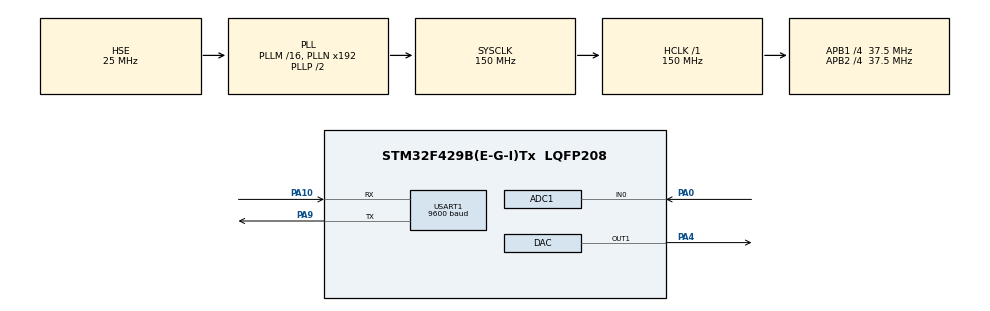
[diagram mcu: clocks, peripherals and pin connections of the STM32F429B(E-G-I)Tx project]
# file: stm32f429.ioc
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ADC1.Channel-1\#ChannelRegularConversion=ADC_CHANNEL_0
ADC1.NbrOfConversionFlag=1
ADC1.Rank-1\#ChannelRegularConversion=1
ADC1.SamplingTime-1\#ChannelRegularConversion=ADC_SAMPLETIME_3CYCLES
ADC1.master=1
Mcu.Family=STM32F4
Mcu.Name=STM32F429B(E-G-I)Tx
Mcu.Package=LQFP208
NVIC.PriorityGroup=NVIC_PRIORITYGROUP_4
PA0/WKUP.Signal=ADCx_IN0
PA10.Mode=Asynchronous
PA10.Signal=USART1_RX
PA4.Signal=COMP_DAC1_group
PA9.Mode=Asynchronous
PA9.Signal=USART1_TX
PH0/OSC_IN.Mode=HSE-External-Oscillator
PH0/OSC_IN.Signal=RCC_OSC_IN
PH1/OSC_OUT.Mode=HSE-External-Oscillator
PH1/OSC_OUT.Signal=RCC_OSC_OUT
ProjectManager.HeapSize=0x200
ProjectManager.StackSize=0x400
ProjectManager.TargetToolchain=MDK-ARM V5.27
RCC.48MHZClocksFreq_Value=75000000
RCC.AHBFreq_Value=150000000
RCC.APB1CLKDivider=RCC_HCLK_DIV4
RCC.APB1Freq_Value=37500000
RCC.APB1TimFreq_Value=75000000
RCC.APB2CLKDivider=RCC_HCLK_DIV4
RCC.APB2Freq_Value=37500000
RCC.APB2TimFreq_Value=75000000
RCC.CortexFreq_Value=150000000
RCC.HCLKFreq_Value=150000000
RCC.HSE_VALUE=25000000
RCC.HSI_VALUE=16000000
RCC.LSE_VALUE=32768
RCC.PLLSourceVirtual=RCC_PLLSOURCE_HSE
RCC.SYSCLKFreq_VALUE=150000000
RCC.SYSCLKSource=RCC_SYSCLKSOURCE_PLLCLK
RCC.VCOOutputFreq_Value=300000000
SH.ADCx_IN0.0=ADC1_IN0,IN0
SH.COMP_DAC1_group.0=DAC_OUT1,DAC_OUT1
USART1.BaudRate=9600
USART1.VirtualMode=VM_ASYNC
board=custom

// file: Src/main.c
/* USER CODE BEGIN Header */
/**
  ******************************************************************************
  * @file           : main.c
  * @brief          : Main program body
  ******************************************************************************
  * @attention
  *
  * <h2><center>&copy; Copyright (c) 2020 STMicroelectronics.
  * All rights reserved.</center></h2>
  *
  * This software component is licensed by ST under BSD 3-Clause license,
  * the "License"; You may not use this file except in compliance with the
  * License. You may obtain a copy of the License at:
  *                        opensource.org/licenses/BSD-3-Clause
  *
  ******************************************************************************
  */
/* USER CODE END Header */

#include "main.h"
#include "adc.h"
#include "dac.h"
#include "usart.h"
#include "gpio.h"

/* USER CODE BEGIN Includes */
#include "stdio.h"
#include "arm_math.h"
#define FFT_LENGTH 1024 		//FFT长度，默认是1024点FFT

float fft_inputbuf[FFT_LENGTH*2];	//FFT输入数组
float fft_outputbuf[FFT_LENGTH];	//FFT输出数组
uint16_t ADC_Value = 0 , ADC_Volt = 0 ;
/* USER CODE END Includes */

void SystemClock_Config(void);
/* USER CODE BEGIN PFP */
void MF_DAC_CH1_SetV(double v){
	uint32_t t;
	if(v<0){
		HAL_DAC_SetValue(&hdac,DAC_CHANNEL_1,DAC_ALIGN_12B_R,0);
		return ;
	}
	if(v>3.254){
		HAL_DAC_SetValue(&hdac,DAC_CHANNEL_1,DAC_ALIGN_12B_R,4040);
		return ;
	}
	t = (uint32_t)(v/3.254*4040+5);
			HAL_DAC_SetValue(&hdac,DAC_CHANNEL_1,DAC_ALIGN_12B_R,t);
}
void MF_ADC1_GetAndShowValue(){
	HAL_ADC_Start(&hadc1);
		if( HAL_ADC_PollForConversion(&hadc1, 100) == HAL_OK ){
       ADC_Value = HAL_ADC_GetValue(&hadc1);//*f+ADC_Value*(1-f);
       ADC_Volt = ADC_Value * 3254 / 4096 ;    //单位ms
   }
   HAL_ADC_Stop(&hadc1);
		printf("采样值:%d,电压值:%d.%d%dV\r\n",ADC_Value, ADC_Volt/1000, (ADC_Volt%1000/100), ADC_Volt%100);
		HAL_Delay(1000);
}
/* USER CODE END PFP */

int main(void)
{
  /* USER CODE BEGIN 1 */
//		uint8_t m = 0xcc ;
//	double f = 0.618;

	int i;
	 arm_cfft_radix4_instance_f32 scfft;
	arm_cfft_radix4_init_f32(&scfft,FFT_LENGTH,0,1);//初始化scfft结构体，设定FFT相关参数
	for(i=0;i<FFT_LENGTH;i++)//生成信号序列
			{
				 fft_inputbuf[2*i]=100+
				                   10*arm_sin_f32(2*PI*i/FFT_LENGTH)+
								   30*arm_sin_f32(2*PI*i*4/FFT_LENGTH)+
				                   50*arm_cos_f32(2*PI*i*8/FFT_LENGTH);	//生成输入信号实部
				 fft_inputbuf[2*i+1]=0;//虚部全部为0
			}
			arm_cfft_radix4_f32(&scfft,fft_inputbuf);	//FFT计算（基4）
			arm_cmplx_mag_f32(fft_inputbuf,fft_outputbuf,FFT_LENGTH);	//把运算结果复数求模得幅值

  /* USER CODE END 1 */

  /* MCU Configuration--------------------------------------------------------*/

  /* Reset of all peripherals, Initializes the Flash interface and the Systick. */
  HAL_Init();

  /* Configure the system clock */
  SystemClock_Config();

  /* Initialize all configured peripherals */
  MX_GPIO_Init();
  MX_USART1_UART_Init();
  MX_ADC1_Init();
  MX_DAC_Init();
  /* USER CODE BEGIN 2 */
	//HAL_ADC_Start(&hadc1);
	HAL_DAC_Start(&hdac,DAC_CHANNEL_1);
//HAL_DAC_SetValue(&hdac,DAC_CHANNEL_1,DAC_ALIGN_12B_R,(uint32_t)(1.5*4096/3300));

  /* USER CODE END 2 */

  /* Infinite loop */
  /* USER CODE BEGIN WHILE */
  while (1)
  {
//		HAL_DAC_SetValue(&hdac,DAC_CHANNEL_1,DAC_ALIGN_12B_R,(uint32_t)(1.5*4096/3300));
//		HAL_DAC_SetValue(&hdac,DAC_CHANNEL_1,DAC_ALIGN_12B_R,4040);
//		MF_DAC_CH1_SetV(1.4);
//		HAL_ADC_Start(&hadc1);
//		if( HAL_ADC_PollForConversion(&hadc1, 100) == HAL_OK ){
//       ADC_Value = HAL_ADC_GetValue(&hadc1);//*f+ADC_Value*(1-f);
//       ADC_Volt = ADC_Value * 3254 / 4096 ;    //单位ms
//   }
//   HAL_ADC_Stop(&hadc1);
//		printf("采样值:%d,电压值:%d.%d%dV\r\n",ADC_Value, ADC_Volt/1000, (ADC_Volt%1000/100), ADC_Volt%100);
		//HAL_UART_Transmit(&huart1,&m,1,1000);

		for(i=0;i<FFT_LENGTH;i++)
			{
				printf("fft_outputbuf[%d]:%f\r\n",i,fft_outputbuf[i]);
			}
		HAL_Delay(1000);
    /* USER CODE END WHILE */

  }
}

void SystemClock_Config(void)
{
  RCC_OscInitTypeDef RCC_OscInitStruct = {0};
  RCC_ClkInitTypeDef RCC_ClkInitStruct = {0};

  /** Configure the main internal regulator output voltage
  */
  __HAL_RCC_PWR_CLK_ENABLE();
  __HAL_PWR_VOLTAGESCALING_CONFIG(PWR_REGULATOR_VOLTAGE_SCALE1);
  /** Initializes the CPU, AHB and APB busses clocks
  */
  RCC_OscInitStruct.OscillatorType = RCC_OSCILLATORTYPE_HSE;
  RCC_OscInitStruct.HSEState = RCC_HSE_ON;
  RCC_OscInitStruct.PLL.PLLState = RCC_PLL_ON;
  RCC_OscInitStruct.PLL.PLLSource = RCC_PLLSOURCE_HSE;
  RCC_OscInitStruct.PLL.PLLM = 16;
  RCC_OscInitStruct.PLL.PLLN = 192;
  RCC_OscInitStruct.PLL.PLLP = RCC_PLLP_DIV2;
  RCC_OscInitStruct.PLL.PLLQ = 4;
  if (HAL_RCC_OscConfig(&RCC_OscInitStruct) != HAL_OK)
  {
    Error_Handler();
  }
  /** Initializes the CPU, AHB and APB busses clocks
  */
  RCC_ClkInitStruct.ClockType = RCC_CLOCKTYPE_HCLK|RCC_CLOCKTYPE_SYSCLK
                              |RCC_CLOCKTYPE_PCLK1|RCC_CLOCKTYPE_PCLK2;
  RCC_ClkInitStruct.SYSCLKSource = RCC_SYSCLKSOURCE_PLLCLK;
  RCC_ClkInitStruct.AHBCLKDivider = RCC_SYSCLK_DIV1;
  RCC_ClkInitStruct.APB1CLKDivider = RCC_HCLK_DIV4;
  RCC_ClkInitStruct.APB2CLKDivider = RCC_HCLK_DIV4;

  if (HAL_RCC_ClockConfig(&RCC_ClkInitStruct, FLASH_LATENCY_4) != HAL_OK)
  {
    Error_Handler();
  }
}

void Error_Handler(void)
{
}

/************************ (C) COPYRIGHT STMicroelectronics *****END OF FILE****/
